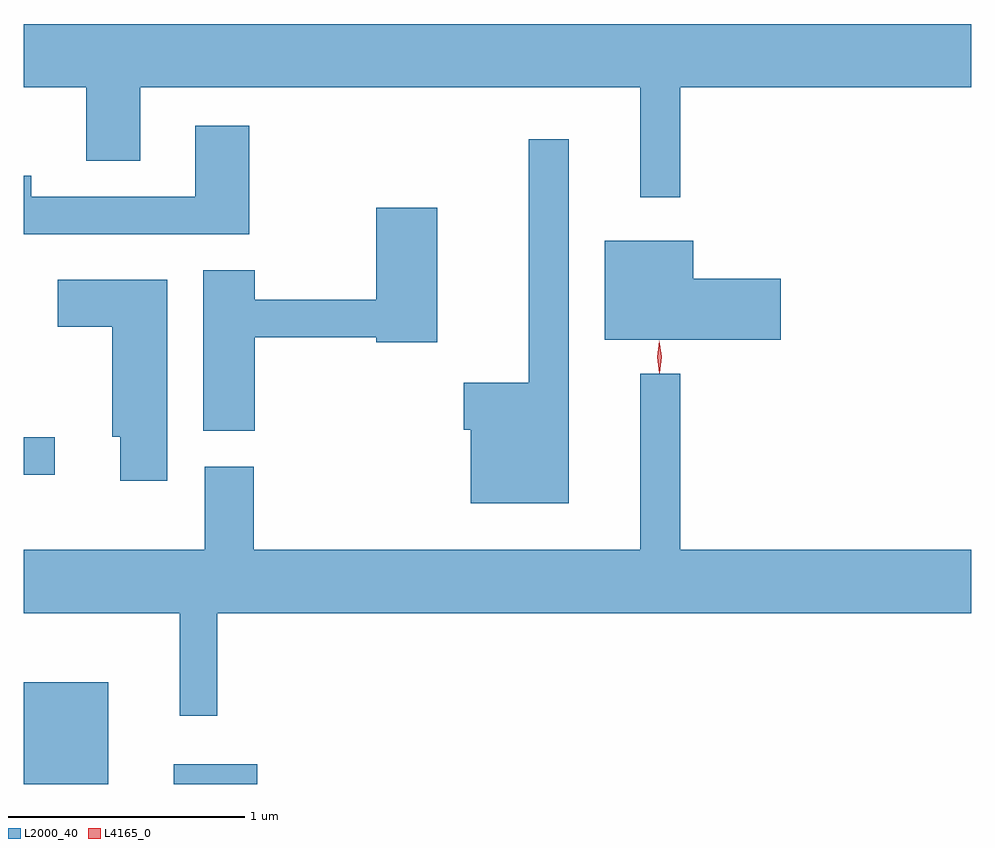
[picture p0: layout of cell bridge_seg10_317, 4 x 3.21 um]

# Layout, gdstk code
import gdstk
lib = gdstk.Library(unit=1e-6, precision=1e-09)
def R(c, l, rs):  # rectangles x0, y0, x1, y1
    for r in rs: c.add(gdstk.rectangle(r[:2], r[2:], *l))
def P(c, l, *ps):  # polygons
    for p in ps: c.add(gdstk.Polygon(p, *l))
L2000_40 = (2000, 40)
L4165_0 = (4165, 0)

bridge_seg10_317 = lib.new_cell('bridge_seg10_317')
R(bridge_seg10_317, L2000_40, [(1448.098,2153.155,1448.454,2153.584), (1448.731,2153.155,1449.084,2153.239), (1448.098,2154.461,1448.228,2154.619)])
P(bridge_seg10_317, L2000_40, [(1450.869,2156.096),(1452.098,2156.096),(1452.098,2156.364),(1448.098,2156.364),(1448.098,2156.096),(1448.361,2156.096),(1448.361,2155.786),(1448.589,2155.786),(1448.589,2156.096),(1450.701,2156.096),(1450.701,2155.633),(1450.869,2155.633)],
  [(1449.049,2155.934),(1448.821,2155.934),(1448.821,2155.634),(1448.129,2155.634),(1448.129,2155.724),(1448.098,2155.724),(1448.098,2155.476),(1449.049,2155.476)],
  [(1450.399,2155.878),(1450.231,2155.878),(1450.231,2154.849),(1449.956,2154.849),(1449.956,2154.651),(1449.986,2154.651),(1449.986,2154.341),(1450.399,2154.341)],
  [(1449.074,2155.041),(1449.586,2155.041),(1449.586,2155.021),(1449.844,2155.021),(1449.844,2155.589),(1449.586,2155.589),(1449.586,2155.199),(1449.074,2155.199),(1449.074,2155.324),(1448.856,2155.324),(1448.856,2154.646),(1449.074,2154.646)],
  [(1451.294,2155.289),(1450.924,2155.289),(1450.924,2155.449),(1450.551,2155.449),(1450.551,2155.031),(1451.294,2155.031)],
  [(1448.704,2155.284),(1448.241,2155.284),(1448.241,2155.086),(1448.471,2155.086),(1448.471,2154.621),(1448.506,2154.621),(1448.506,2154.436),(1448.704,2154.436)],
  [(1448.914,2153.876),(1452.098,2153.876),(1452.098,2154.144),(1450.869,2154.144),(1450.869,2154.888),(1450.701,2154.888),(1450.701,2154.144),(1449.069,2154.144),(1449.069,2154.494),(1448.861,2154.494),(1448.861,2154.144),(1448.098,2154.144),(1448.098,2153.876),(1448.756,2153.876),(1448.756,2153.443),(1448.914,2153.443)])
P(bridge_seg10_317, L4165_0, [(1450.782,2154.89),(1450.782,2154.89),(1450.772,2154.958),(1450.781,2155.026),(1450.781,2155.026),(1450.782,2155.026),(1450.792,2154.958),(1450.783,2154.89)],
  [(1450.782,2154.893),(1450.782,2154.894),(1450.772,2154.956),(1450.782,2155.019),(1450.782,2155.02),(1450.782,2155.019),(1450.792,2154.956),(1450.783,2154.894)])

lib.write_gds('bridge_seg10_317.gds')
